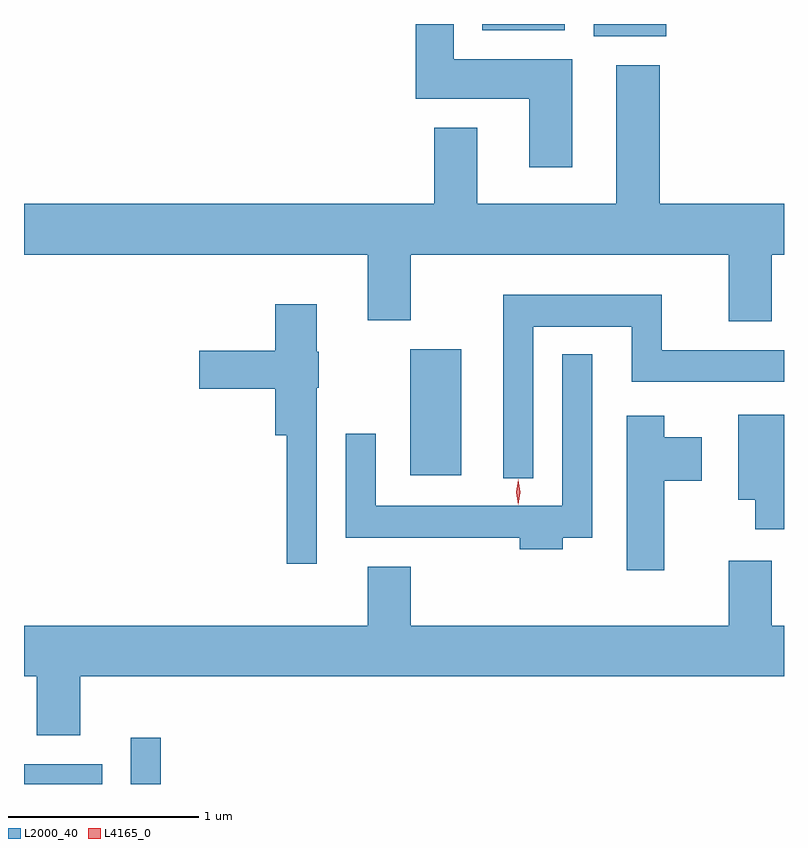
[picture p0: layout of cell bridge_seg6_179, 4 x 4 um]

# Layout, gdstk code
import gdstk
lib = gdstk.Library(unit=1e-6, precision=1e-09)
def R(c, l, rs):  # rectangles x0, y0, x1, y1
    for r in rs: c.add(gdstk.rectangle(r[:2], r[2:], *l))
def P(c, l, *ps):  # polygons
    for p in ps: c.add(gdstk.Polygon(p, *l))
L2000_40 = (2000, 40)
L4165_0 = (4165, 0)

bridge_seg6_179 = lib.new_cell('bridge_seg6_179')
R(bridge_seg6_179, L2000_40, [(1080.143,1573.89,1080.554,1573.994), (1080.706,1573.89,1080.864,1574.133), (1082.176,1575.516,1082.444,1576.179), (1083.141,1577.826,1083.524,1577.89), (1082.556,1577.856,1082.989,1577.89)])
P(bridge_seg6_179, L2000_40, [(1083.029,1577.704),(1082.404,1577.704),(1082.404,1577.89),(1082.206,1577.89),(1082.206,1577.496),(1082.801,1577.496),(1082.801,1577.136),(1083.029,1577.136)],
  [(1084.079,1576.676),(1084.143,1576.676),(1084.143,1576.944),(1083.489,1576.944),(1083.489,1577.674),(1083.261,1577.674),(1083.261,1576.944),(1082.529,1576.944),(1082.529,1577.344),(1082.301,1577.344),(1082.301,1576.944),(1080.143,1576.944),(1080.143,1576.676),(1081.951,1576.676),(1081.951,1576.331),(1082.179,1576.331),(1082.179,1576.676),(1083.851,1576.676),(1083.851,1576.326),(1084.079,1576.326)],
  [(1082.824,1576.296),(1083.341,1576.296),(1083.341,1576.006),(1084.143,1576.006),(1084.143,1576.174),(1083.499,1576.174),(1083.499,1576.464),(1082.666,1576.464),(1082.666,1575.498),(1082.824,1575.498)],
  [(1081.684,1575.975),(1081.694,1575.975),(1081.694,1576.165),(1081.684,1576.165),(1081.684,1576.414),(1081.466,1576.414),(1081.466,1576.169),(1081.066,1576.169),(1081.066,1575.971),(1081.466,1575.971),(1081.466,1575.726),(1081.526,1575.726),(1081.526,1575.048),(1081.684,1575.048)],
  [(1082.979,1575.186),(1083.134,1575.186),(1083.134,1576.153),(1082.976,1576.153),(1082.976,1575.354),(1081.994,1575.354),(1081.994,1575.733),(1081.836,1575.733),(1081.836,1575.186),(1082.751,1575.186),(1082.751,1575.126),(1082.979,1575.126)],
  [(1084.143,1575.834),(1083.901,1575.834),(1083.901,1575.386),(1083.991,1575.386),(1083.991,1575.231),(1084.143,1575.231)],
  [(1083.514,1575.486),(1083.709,1575.486),(1083.709,1575.714),(1083.514,1575.714),(1083.514,1575.829),(1083.316,1575.829),(1083.316,1575.016),(1083.514,1575.016)],
  [(1080.439,1574.456),(1084.143,1574.456),(1084.143,1574.724),(1084.079,1574.724),(1084.079,1575.064),(1083.851,1575.064),(1083.851,1574.724),(1082.179,1574.724),(1082.179,1575.034),(1081.951,1575.034),(1081.951,1574.724),(1080.143,1574.724),(1080.143,1574.456),(1080.211,1574.456),(1080.211,1574.146),(1080.439,1574.146)])
P(bridge_seg6_179, L4165_0, [(1082.744,1575.359),(1082.744,1575.36),(1082.734,1575.426),(1082.744,1575.492),(1082.744,1575.493),(1082.745,1575.492),(1082.754,1575.426),(1082.745,1575.36)])

lib.write_gds('bridge_seg6_179.gds')
